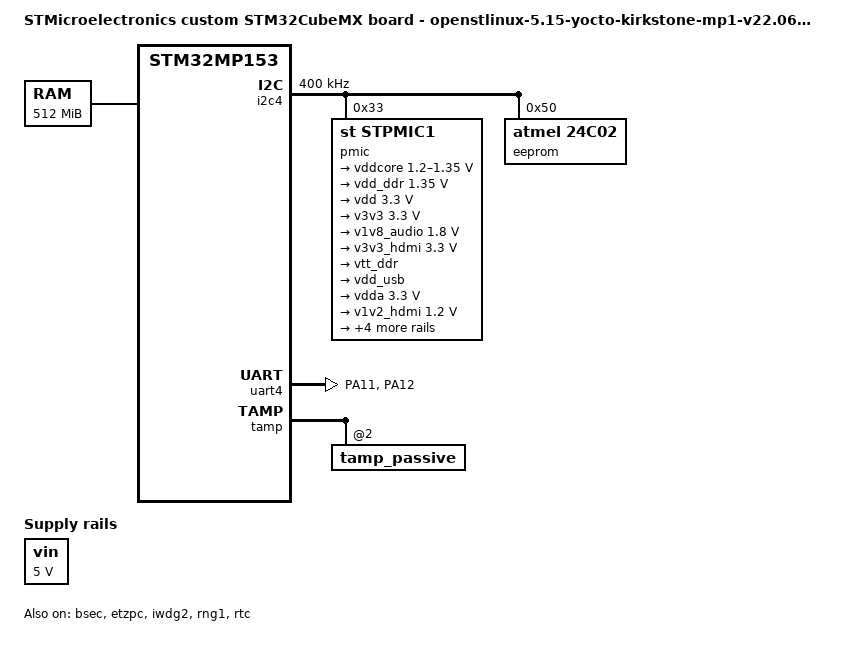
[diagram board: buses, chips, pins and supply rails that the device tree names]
/* SPDX-License-Identifier: (GPL-2.0+ OR BSD-3-Clause) */
/*
 * Copyright (C) STMicroelectronics 2023 - All Rights Reserved
 * Author: STM32CubeMX code generation for STMicroelectronics.
 */

/* For more information on Device Tree configuration, please refer to
 * https://wiki.st.com/stm32mpu/wiki/Category:Device_tree_configuration
 */

/dts-v1/;
#include <dt-bindings/pinctrl/stm32-pinfunc.h>
#include <dt-bindings/clock/stm32mp1-clksrc.h>
#include <dt-bindings/soc/stm32mp15-etzpc.h>

#include "stm32mp153.dtsi"
#include "stm32mp15xc.dtsi"
#include "stm32mp15xxac-pinctrl.dtsi"

/* USER CODE BEGIN includes */
#include <dt-bindings/power/stm32mp1-power.h>
/* USER CODE END includes */

/ {
	model = "STMicroelectronics custom STM32CubeMX board - openstlinux-5.15-yocto-kirkstone-mp1-v22.06.15";
	compatible = "st,stm32mp153c-t7xc-mx", "st,stm32mp153";

	memory@c0000000 {
		device_type = "memory";
		reg = <0xc0000000 0x20000000>;

		/* USER CODE BEGIN memory */
		/* USER CODE END memory */
	};

	reserved-memory {
		#address-cells = <1>;
		#size-cells = <1>;
		ranges;

		/* USER CODE BEGIN reserved-memory */
		/* USER CODE END reserved-memory */
	};

	/* USER CODE BEGIN root */
	aliases {
		serial0 = &uart4;
	};

	chosen {
		stdout-path = "serial0:115200n8";
	};

	vin: vin {
		compatible = "regulator-fixed";
		regulator-name = "vin";
		regulator-min-microvolt = <5000000>;
		regulator-max-microvolt = <5000000>;
		regulator-always-on;
	};
	/* USER CODE END root */

	clocks {
		/* USER CODE BEGIN clocks */
		/* USER CODE END clocks */

		clk_hsi: clk-hsi {
			clock-frequency = <64000000>;

			/* USER CODE BEGIN clk_hsi */
			/* USER CODE END clk_hsi */
		};
		clk_lse: clk-lse {
			clock-frequency = <32768>;
			st,drive = < LSEDRV_MEDIUM_HIGH >;

			/* USER CODE BEGIN clk_lse */
			/* USER CODE END clk_lse */
		};
		clk_hse: clk-hse {
			clock-frequency = <24000000>;
			st,digbypass;

			/* USER CODE BEGIN clk_hse */
			/* USER CODE END clk_hse */
		};
	};

}; /*root*/

/*Warning: the configuration of the secured GPIOs should be added in (addons) User Section*/
&pinctrl {
	/* USER CODE BEGIN pinctrl */
	uart4_pins_mx: uart4_mx-0 {
		pins1 {
			pinmux = <STM32_PINMUX('A', 11, AF6)>; /* UART4_RX */
			bias-disable;
		};
		pins2 {
			pinmux = <STM32_PINMUX('A', 12, AF6)>; /* UART4_TX */
			bias-disable;
			drive-push-pull;
			slew-rate = <0>;
		};
	};
	tamp_in2_pin_a: tamp_in2_pin_0 {
		pins {
			pinmux = <STM32_PINMUX('I', 8, RSVD)>;
			st,tamp_id = <2>;
		};
	};
	/* USER CODE END pinctrl */
};

&pinctrl_z {
	i2c4_pins_z_mx: i2c4_mx-0 {
		pins {
			pinmux = <STM32_PINMUX('Z', 4, AF6)>, /* I2C4_SCL */
					 <STM32_PINMUX('Z', 5, AF6)>; /* I2C4_SDA */
			bias-pull-up;
			drive-open-drain;
			slew-rate = <0>;
		};
	};

	/* USER CODE BEGIN pinctrl_z */
	/* USER CODE END pinctrl_z */
};

&bsec {
	status = "okay";

	/* USER CODE BEGIN bsec */
	/* USER CODE END bsec */
};

&etzpc{
	status = "okay";
	st,decprot = <
	/*"Non Secured" peripherals*/
	DECPROT(STM32MP1_ETZPC_ADC_ID, DECPROT_NS_RW, DECPROT_UNLOCK)
	DECPROT(STM32MP1_ETZPC_CRYP1_ID, DECPROT_NS_RW, DECPROT_UNLOCK)
	DECPROT(STM32MP1_ETZPC_DAC_ID, DECPROT_NS_RW, DECPROT_UNLOCK)
	DECPROT(STM32MP1_ETZPC_DMA1_ID, DECPROT_NS_RW, DECPROT_UNLOCK)
	DECPROT(STM32MP1_ETZPC_DMAMUX_ID, DECPROT_NS_RW, DECPROT_UNLOCK)
	DECPROT(STM32MP1_ETZPC_ETH_ID, DECPROT_NS_RW, DECPROT_UNLOCK)
	DECPROT(STM32MP1_ETZPC_HASH1_ID, DECPROT_NS_RW, DECPROT_UNLOCK)
	DECPROT(STM32MP1_ETZPC_I2C3_ID, DECPROT_NS_RW, DECPROT_UNLOCK)
	DECPROT(STM32MP1_ETZPC_I2C4_ID, DECPROT_NS_RW, DECPROT_UNLOCK)
	DECPROT(STM32MP1_ETZPC_SPI1_ID, DECPROT_NS_RW, DECPROT_UNLOCK)
	DECPROT(STM32MP1_ETZPC_SPI2_ID, DECPROT_NS_RW, DECPROT_UNLOCK)
	DECPROT(STM32MP1_ETZPC_SPI5_ID, DECPROT_NS_RW, DECPROT_UNLOCK)
	DECPROT(STM32MP1_ETZPC_UART4_ID, DECPROT_NS_RW, DECPROT_UNLOCK)
	DECPROT(STM32MP1_ETZPC_VREFBUF_ID, DECPROT_NS_RW, DECPROT_UNLOCK)
	/*"NS_R S_W" peripherals*/
	DECPROT(STM32MP1_ETZPC_DDRCTRL_ID, DECPROT_NS_R_S_W, DECPROT_LOCK)
	DECPROT(STM32MP1_ETZPC_DDRPHYC_ID, DECPROT_NS_R_S_W, DECPROT_LOCK)
	/*"Secured" peripherals*/
	DECPROT(STM32MP1_ETZPC_IWDG1_ID, DECPROT_S_RW, DECPROT_LOCK)
	DECPROT(STM32MP1_ETZPC_RNG1_ID, DECPROT_S_RW, DECPROT_LOCK)
	DECPROT(STM32MP1_ETZPC_STGENC_ID, DECPROT_S_RW, DECPROT_LOCK)
	/*"Mcu Isolation" peripherals*/
	DECPROT(STM32MP1_ETZPC_DMA2_ID, DECPROT_MCU_ISOLATION, DECPROT_UNLOCK)
	DECPROT(STM32MP1_ETZPC_FMC_ID, DECPROT_MCU_ISOLATION, DECPROT_UNLOCK)
	DECPROT(STM32MP1_ETZPC_TIM15_ID, DECPROT_MCU_ISOLATION, DECPROT_UNLOCK)
	DECPROT(STM32MP1_ETZPC_TIM16_ID, DECPROT_MCU_ISOLATION, DECPROT_UNLOCK)
	DECPROT(STM32MP1_ETZPC_TIM17_ID, DECPROT_MCU_ISOLATION, DECPROT_UNLOCK)
	DECPROT(STM32MP1_ETZPC_TIM5_ID, DECPROT_MCU_ISOLATION, DECPROT_UNLOCK)

	/*Restriction: following IDs are not managed  - please to use User-Section if needed:
		  STM32MP1_ETZPC_SRAMx_ID  STM32MP1_ETZPC_RETRAM_ID  STM32MP1_ETZPC_BKPSRAM_ID*/

	/* USER CODE BEGIN etzpc_decprot */
		/*STM32CubeMX generates a basic and standard configuration for ETZPC.
		Additional device configurations can be added here if needed.
		"etzpc" node could be also overloaded in "addons" User-Section.*/
	DECPROT(STM32MP1_ETZPC_BKPSRAM_ID, DECPROT_S_RW, DECPROT_LOCK)
	/* USER CODE END etzpc_decprot */
	>;

	/* USER CODE BEGIN etzpc */
	/* USER CODE END etzpc */
};

&i2c4 {
	compatible = "st,stm32mp15-i2c-non-secure";
	pinctrl-names = "default";
	pinctrl-0 = <&i2c4_pins_z_mx>;
	status = "okay";

	/* USER CODE BEGIN i2c4 */
	i2c-scl-rising-time-ns = <185>;
	i2c-scl-falling-time-ns = <20>;
	clock-frequency = <400000>;
	/* spare dmas for other usage */
	/delete-property/ dmas;
	/delete-property/ dma-names;
	pmic: stpmic@33 {
		compatible = "st,stpmic1";
		reg = <0x33>;
		interrupt-controller;
		#interrupt-cells = <2>;
		status = "okay";

		regulators {
			compatible = "st,stpmic1-regulators";
			buck1-supply = <&vin>;
			buck2-supply = <&vin>;
			buck3-supply = <&vin>;
			buck4-supply = <&vin>;
			ldo1-supply = <&v3v3>;
			ldo2-supply = <&vin>;
			ldo3-supply = <&vdd_ddr>;
			ldo4-supply = <&vin>;
			ldo5-supply = <&vin>;
			ldo6-supply = <&v3v3>;
			vref_ddr-supply = <&vin>;
			boost-supply = <&vin>;
			pwr_sw1-supply = <&bst_out>;
			pwr_sw2-supply = <&bst_out>;

			vddcore: buck1 {
				regulator-name = "vddcore";
				regulator-min-microvolt = <1200000>;
				regulator-max-microvolt = <1350000>;
				regulator-always-on;
				regulator-initial-mode = <0>;
				regulator-over-current-protection;
			};

			vdd_ddr: buck2 {
				regulator-name = "vdd_ddr";
				regulator-min-microvolt = <1350000>;
				regulator-max-microvolt = <1350000>;
				regulator-always-on;
				regulator-initial-mode = <0>;
				regulator-over-current-protection;
			};

			vdd: buck3 {
				regulator-name = "vdd";
				regulator-min-microvolt = <3300000>;
				regulator-max-microvolt = <3300000>;
				regulator-always-on;
				st,mask-reset;
				regulator-initial-mode = <0>;
				regulator-over-current-protection;
			};

			v3v3: buck4 {
				regulator-name = "v3v3";
				regulator-min-microvolt = <3300000>;
				regulator-max-microvolt = <3300000>;
				regulator-always-on;
				regulator-over-current-protection;
				regulator-initial-mode = <0>;
			};

			v1v8_audio: ldo1 {
				regulator-name = "v1v8_audio";
				regulator-min-microvolt = <1800000>;
				regulator-max-microvolt = <1800000>;
				regulator-always-on;
			};

			v3v3_hdmi: ldo2 {
				regulator-name = "v3v3_hdmi";
				regulator-min-microvolt = <3300000>;
				regulator-max-microvolt = <3300000>;
				regulator-always-on;
			};

			vtt_ddr: ldo3 {
				regulator-name = "vtt_ddr";
				regulator-always-on;
				regulator-over-current-protection;
				st,regulator-sink-source;
			};

			vdd_usb: ldo4 {
				regulator-name = "vdd_usb";
			};

			vdda: ldo5 {
				regulator-name = "vdda";
				regulator-min-microvolt = <3300000>;
				regulator-max-microvolt = <3300000>;
				regulator-boot-on;
			};

			v1v2_hdmi: ldo6 {
				regulator-name = "v1v2_hdmi";
				regulator-min-microvolt = <1200000>;
				regulator-max-microvolt = <1200000>;
				regulator-always-on;
			};

			vref_ddr: vref_ddr {
				regulator-name = "vref_ddr";
				regulator-always-on;
				regulator-over-current-protection;
			};

			 bst_out: boost {
				regulator-name = "bst_out";
			 };

			vbus_otg: pwr_sw1 {
				regulator-name = "vbus_otg";
			 };

			 vbus_sw: pwr_sw2 {
				regulator-name = "vbus_sw";
				regulator-active-discharge = <1>;
			 };
		};

		onkey {
			compatible = "st,stpmic1-onkey";
			interrupt-names = "onkey-falling", "onkey-rising";
			power-off-time-sec = <10>;
			status = "okay";
		};

		watchdog {
			compatible = "st,stpmic1-wdt";
			status = "disabled";
		};
	};
	eeprom@50 {
		compatible = "atmel,24c02";
		reg = <0x50>;
		pagesize = <16>;
	};
	/* USER CODE END i2c4 */
};

// &iwdg1{
// 	status = "okay";

// 	/* USER CODE BEGIN iwdg1 */
// 	/* USER CODE END iwdg1 */
// };

&iwdg2{
	status = "okay";

	/* USER CODE BEGIN iwdg2 */
	timeout-sec = <32>;
	secure-timeout-sec = <15>;
	/* USER CODE END iwdg2 */
};

&pwr_regulators {
	system_suspend_supported_soc_modes = <
		STM32_PM_CSLEEP_RUN
		STM32_PM_CSTOP_ALLOW_LP_STOP
		STM32_PM_CSTOP_ALLOW_STANDBY_DDR_SR
	>;
	system_off_soc_mode = <STM32_PM_CSTOP_ALLOW_STANDBY_DDR_OFF>;
	vdd-supply = <&vdd>;
	vdd_3v3_usbfs-supply = <&vdd_usb>;
};

&rcc{
	status = "okay";

	/* USER CODE BEGIN rcc */
	/* USER CODE END rcc */

	st,clksrc = <
		CLK_MPU_PLL1P
		CLK_AXI_PLL2P
		CLK_MCU_PLL3P
		CLK_PLL12_HSE
		CLK_PLL3_HSE
		CLK_PLL4_HSE
		CLK_RTC_LSE
		CLK_MCO1_DISABLED
		CLK_MCO2_DISABLED
	>;
	st,clkdiv = <
		1 		/*MPU*/
		0 		/*AXI*/
		0 		/*MCU*/
		1 		/*APB1*/
		1 		/*APB2*/
		1 		/*APB3*/
		1 		/*APB4*/
		2 		/*APB5*/
		23 		/*RTC*/
		0 		/*MCO1*/
		0 		/*MCO2*/
	>;
	st,pkcs = <
		CLK_CKPER_HSE
		CLK_FMC_ACLK
		CLK_ETH_PLL4P
		CLK_SDMMC12_PLL4P
		CLK_STGEN_HSE
		CLK_USBPHY_DISABLED
		CLK_SPI2S1_PLL3Q
		CLK_SPI2S23_PLL4P
		CLK_SPI45_HSI
		CLK_SPI6_DISABLED
		CLK_I2C46_HSI
		CLK_SDMMC3_DISABLED
		CLK_ADC_CKPER
		CLK_CEC_DISABLED
		CLK_I2C12_DISABLED
		CLK_I2C35_HSI
		CLK_UART1_DISABLED
		CLK_UART24_HSI
		CLK_UART35_DISABLED
		CLK_UART6_DISABLED
		CLK_UART78_DISABLED
		CLK_SPDIF_DISABLED
		CLK_SAI1_DISABLED
		CLK_SAI2_DISABLED
		CLK_SAI3_DISABLED
		CLK_SAI4_DISABLED
		CLK_RNG1_CSI
		CLK_RNG2_LSI
		CLK_LPTIM1_DISABLED
		CLK_LPTIM23_DISABLED
		CLK_LPTIM45_DISABLED
	>;
	pll1:st,pll@0 {
		compatible = "st,stm32mp1-pll";
		reg = <0>;
		cfg = < 2 80 0 1 1 PQR(1,0,0) >;
		frac = < 0x800 >;
	};
	pll2:st,pll@1 {
		compatible = "st,stm32mp1-pll";
		reg = <1>;
		cfg = < 2 65 1 1 0 PQR(1,0,1) >;
		frac = < 0x1400 >;
	};
	pll3:st,pll@2 {
		compatible = "st,stm32mp1-pll";
		reg = <2>;
		cfg = < 1 33 1 16 36 PQR(1,1,0) >;
		frac = < 0x1a04 >;
	};
	pll4:st,pll@3 {
		compatible = "st,stm32mp1-pll";
		reg = <3>;
		cfg = < 3 98 5 7 74 PQR(1,0,0) >;
	};
};

&rng1{
	status = "okay";

	/* USER CODE BEGIN rng1 */
	/* USER CODE END rng1 */
};

&rtc{
	status = "okay";

	/* USER CODE BEGIN rtc */
	/* USER CODE END rtc */
};

&uart4{
	pinctrl-names = "default";
	pinctrl-0 = <&uart4_pins_mx>;
	status = "okay";

	/* USER CODE BEGIN uart4 */
	/* USER CODE END uart4 */
};

&tamp{
	status = "okay";

	/* USER CODE BEGIN tamp */
	st,tamp_passive_precharge = <4>;
	st,tamp_passive_nb_sample = <4>;
	st,tamp_passive_sample_clk_div = <16384>;
	tamp_passive@2 {
		pinctrl-0 = <&tamp_in2_pin_a>;
		st,trig_on;
		status = "okay";
	};
	/* USER CODE END tamp */
};

/* USER CODE BEGIN addons */
/* Low-power states of regulators */
&v1v2_hdmi {
	standby-ddr-sr {
		regulator-off-in-suspend;
	};
	standby-ddr-off {
		regulator-off-in-suspend;
	};
};

&v1v8_audio {
	standby-ddr-sr {
		regulator-off-in-suspend;
	};
	standby-ddr-off {
		regulator-off-in-suspend;
	};
};

&v3v3 {
	lp-stop {
		regulator-suspend-microvolt = <3300000>;
		regulator-on-in-suspend;
	};
	standby-ddr-sr {
		regulator-off-in-suspend;
	};
	standby-ddr-off {
		regulator-off-in-suspend;
	};
};

&v3v3_hdmi {
	standby-ddr-sr {
		regulator-off-in-suspend;
	};
	standby-ddr-off {
		regulator-off-in-suspend;
	};
};

&vdd {
	lp-stop {
		regulator-suspend-microvolt = <3300000>;
		regulator-on-in-suspend;
	};
	standby-ddr-sr {
		regulator-suspend-microvolt = <3300000>;
		regulator-on-in-suspend;
	};
	standby-ddr-off {
		regulator-suspend-microvolt = <3300000>;
		regulator-on-in-suspend;
	};
};

&vdda {
	standby-ddr-sr {
		regulator-off-in-suspend;
	};
	standby-ddr-off {
		regulator-off-in-suspend;
	};
};

&vddcore {
	lp-stop {
		regulator-on-in-suspend;
		regulator-suspend-microvolt = <1200000>;
	};
	standby-ddr-sr {
		regulator-off-in-suspend;
	};
	standby-ddr-off {
		regulator-off-in-suspend;
	};
};

&vdd_ddr {
	lp-stop {
		regulator-suspend-microvolt = <1350000>;
		regulator-on-in-suspend;
	};
	standby-ddr-sr {
		regulator-suspend-microvolt = <1350000>;
		regulator-on-in-suspend;
	};
	standby-ddr-off {
		regulator-off-in-suspend;
	};
};

&vdd_usb {
	standby-ddr-sr {
		regulator-off-in-suspend;
	};
	standby-ddr-off {
		regulator-off-in-suspend;
	};
};

&vref_ddr {
	lp-stop {
		regulator-on-in-suspend;
	};
	standby-ddr-sr {
		regulator-on-in-suspend;
	};
	standby-ddr-off {
		regulator-off-in-suspend;
	};
};

&vtt_ddr {
	lp-stop {
		regulator-off-in-suspend;
	};
	standby-ddr-sr {
		regulator-off-in-suspend;
	};
	standby-ddr-off {
		regulator-off-in-suspend;
	};
};
/* USER CODE END addons */

